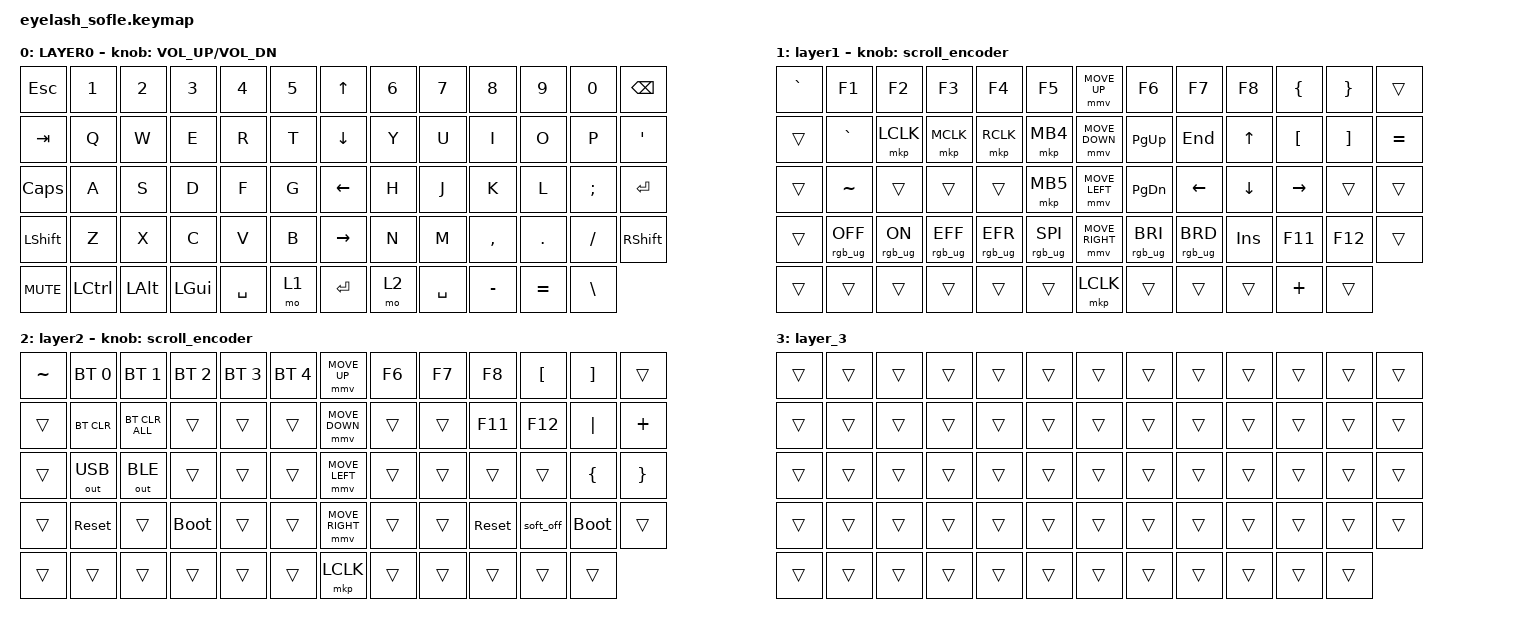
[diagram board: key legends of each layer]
#include <dt-bindings/zmk/mouse.h>
#include <input/processors.dtsi>
#include <behaviors.dtsi>
#include <dt-bindings/zmk/bt.h>
#include <dt-bindings/zmk/keys.h>
#include <dt-bindings/zmk/outputs.h>
#include <dt-bindings/zmk/pointing.h>
#include <dt-bindings/zmk/pointing.h>
#include <dt-bindings/zmk/pointing.h>
#include <dt-bindings/zmk/rgb.h>

/*

   &mmv_input_listener {
       input-processors = <&zip_xy_scaler 2 1>;
   };

   &msc_input_listener {
       input-processors = <&zip_xy_scaler 2 1>;
   };

 */

#define ZMK_MOUSE_DEFAULT_MOVE_VAL 1200  // 600
#define ZMK_MOUSE_DEFAULT_SCRL_VAL 20    // 10

/ {
    behaviors {
        mmv {
            acceleration-exponent = <1>;      // 1
            time-to-max-speed-ms = <900>;    // 40
            delay-ms = <0>;                   // 0
        };

        msc {
            acceleration-exponent = <1>;      // 0
            time-to-max-speed-ms = <400>;      // 500
            delay-ms = <0>;                   //   10
        };
    };

    scroll_encoder: scroll_encoder {
        compatible = "zmk,behavior-sensor-rotate";
        #sensor-binding-cells = <0>;
        bindings = <&msc SCRL_DOWN>, <&msc SCRL_UP>;

        tap-ms = <30>;
    };

    keymap {
        compatible = "zmk,keymap";

        layer0 {
            bindings = <
&kp ESC     &kp N1     &kp N2        &kp N3        &kp N4  &kp N5       &kp UP_ARROW     &kp N6     &kp N7     &kp N8     &kp N9           &kp N0      &kp BACKSPACE
&kp TAB     &kp Q      &kp W         &kp E         &kp R   &kp T        &kp DOWN_ARROW   &kp Y      &kp U      &kp I      &kp O            &kp P       &kp APOS
&kp CAPS    &kp A      &kp S         &kp D         &kp F   &kp G        &kp LEFT_ARROW   &kp H      &kp J      &kp K      &kp L            &kp SEMI    &kp ENTER
&kp LSHFT   &kp Z      &kp X         &kp C         &kp V   &kp B        &kp RIGHT_ARROW  &kp N      &kp M      &kp COMMA  &kp DOT          &kp FSLH    &kp RIGHT_SHIFT
&kp C_MUTE  &kp LCTRL  &kp LEFT_ALT  &kp LEFT_GUI  &kp SPACE    &mo 1   &kp ENTER        &mo 2   &kp SPACE     &kp MINUS   &kp EQUAL       &kp BACKSLASH
            >;

            sensor-bindings = <&inc_dec_kp C_VOLUME_UP C_VOL_DN>;
            display-name = "LAYER0";
        };

        layer_1 {
            bindings = <
&kp GRAVE   &kp F1           &kp F2          &kp F3           &kp F4           &kp F5             &mmv MOVE_UP     &kp F6           &kp F7           &kp F8      &kp LBRC     &kp RBRC           &trans
&trans      &kp GRAVE        &mkp LCLK       &mkp MCLK        &mkp RCLK        &mkp MB4           &mmv MOVE_DOWN   &kp PG_UP        &kp END          &kp UP      &kp LEFT_BRACKET   &kp RIGHT_BRACKET   &kp EQUAL
&trans      &kp TILDE        &trans          &trans           &trans           &mkp MB5           &mmv MOVE_LEFT   &kp PG_DN        &kp LEFT         &kp DOWN    &kp RIGHT  &trans  &trans
&trans      &rgb_ug RGB_OFF  &rgb_ug RGB_ON  &rgb_ug RGB_EFF  &rgb_ug RGB_EFR  &rgb_ug RGB_SPI    &mmv MOVE_RIGHT  &rgb_ug RGB_BRI  &rgb_ug RGB_BRD  &kp INSERT  &kp F11    &kp F12           &trans
&trans      &trans           &trans          &trans           &trans           &trans             &mkp LCLK        &trans           &trans           &trans      &kp PLUS     &trans
            >;

            display-name = "layer1";
            sensor-bindings = <&scroll_encoder>;
        };

        layer_2 {
            bindings = <
&kp TILDE  &bt BT_SEL 0  &bt BT_SEL 1    &bt BT_SEL 2  &bt BT_SEL 3  &bt BT_SEL 4    &mmv MOVE_UP     &kp F6  &kp F7  &kp F8      &kp LEFT_BRACKET     &kp RIGHT_BRACKET      &trans
&trans     &bt BT_CLR    &bt BT_CLR_ALL  &trans        &trans        &trans          &mmv MOVE_DOWN   &trans  &trans  &kp F11     &kp F12    &kp PIPE     &kp PLUS
&trans     &out OUT_USB  &out OUT_BLE    &trans        &trans        &trans          &mmv MOVE_LEFT   &trans  &trans  &trans      &trans     &kp LBRC     &kp RBRC
&trans     &sys_reset    &trans          &bootloader   &trans        &trans          &mmv MOVE_RIGHT  &trans  &trans  &sys_reset  &soft_off  &bootloader  &trans
&trans     &trans        &trans          &trans        &trans        &trans          &mkp LCLK        &trans  &trans  &trans      &trans     &trans
            >;

            display-name = "layer2";
            sensor-bindings = <&scroll_encoder>;
        };

        layer_3 {
            bindings = <
&trans  &trans  &trans  &trans  &trans  &trans    &trans  &trans  &trans  &trans  &trans  &trans  &trans
&trans  &trans  &trans  &trans  &trans  &trans    &trans  &trans  &trans  &trans  &trans  &trans  &trans
&trans  &trans  &trans  &trans  &trans  &trans    &trans  &trans  &trans  &trans  &trans  &trans  &trans
&trans  &trans  &trans  &trans  &trans  &trans    &trans  &trans  &trans  &trans  &trans  &trans  &trans
&trans  &trans  &trans  &trans  &trans  &trans    &trans  &trans  &trans  &trans  &trans  &trans
            >;
        };
    };
};
